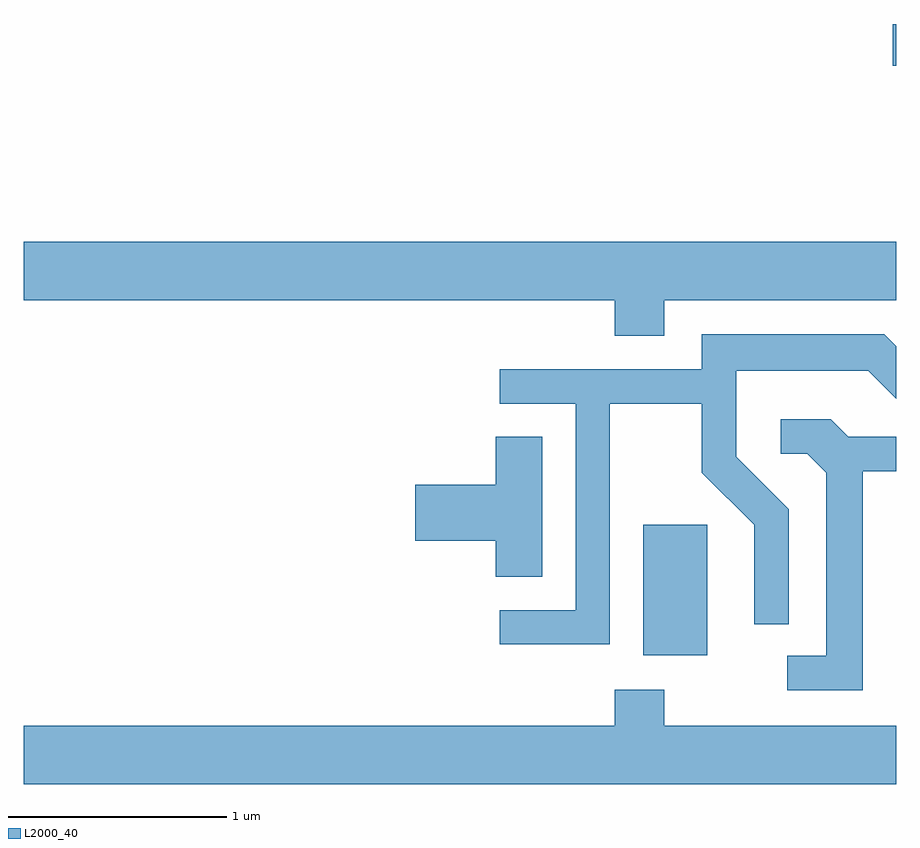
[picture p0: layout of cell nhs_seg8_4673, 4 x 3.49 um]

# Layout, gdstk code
import gdstk
lib = gdstk.Library(unit=1e-6, precision=1e-09)
def R(c, l, rs):  # rectangles x0, y0, x1, y1
    for r in rs: c.add(gdstk.rectangle(r[:2], r[2:], *l))
def P(c, l, *ps):  # polygons
    for p in ps: c.add(gdstk.Polygon(p, *l))
L2000_40 = (2000, 40)

nhs_seg8_4673 = lib.new_cell('nhs_seg8_4673')
R(nhs_seg8_4673, L2000_40, [(328.451,1841.446,328.744,1842.044), (329.596,1844.151,329.611,1844.342)])
P(nhs_seg8_4673, L2000_40, [(328.549,1843.076),(329.611,1843.076),(329.611,1843.344),(325.611,1843.344),(325.611,1843.076),(328.321,1843.076),(328.321,1842.911),(328.549,1842.911)],
  [(328.299,1842.601),(328.721,1842.601),(328.721,1842.284),(328.961,1842.044),(328.961,1841.588),(329.119,1841.588),(329.119,1842.117),(328.879,1842.357),(328.879,1842.751),(329.484,1842.751),(329.611,1842.624),(329.611,1842.865),(329.557,1842.919),(328.721,1842.919),(328.721,1842.759),(327.793,1842.759),(327.793,1842.601),(328.141,1842.601),(328.141,1841.654),(327.793,1841.654),(327.793,1841.496),(328.299,1841.496)],
  [(329.459,1842.291),(329.611,1842.291),(329.611,1842.449),(329.392,1842.449),(329.312,1842.529),(329.083,1842.529),(329.083,1842.371),(329.204,1842.371),(329.291,1842.284),(329.291,1841.444),(329.113,1841.444),(329.113,1841.286),(329.459,1841.286)],
  [(327.989,1842.449),(327.776,1842.449),(327.776,1842.229),(327.406,1842.229),(327.406,1841.971),(327.776,1841.971),(327.776,1841.806),(327.989,1841.806)],
  [(329.611,1841.124),(328.549,1841.124),(328.549,1841.289),(328.321,1841.289),(328.321,1841.124),(325.611,1841.124),(325.611,1840.856),(329.611,1840.856)])

lib.write_gds('nhs_seg8_4673.gds')
